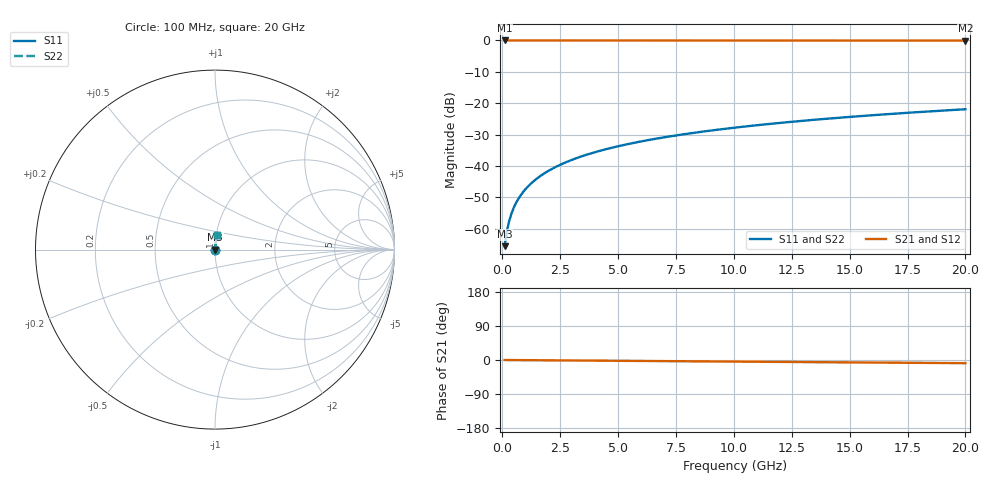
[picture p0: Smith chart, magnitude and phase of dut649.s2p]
! Touchstone file exported from HFSS 2026.1.0
!  File:  C:/ffzhzh/LocalFiles/Ansys_Project_Files/temp_train_TSV_649_1783026597_53980.aedt
!  Generated:  05:11:50 AM Jul  3, 2026
!  Design:  TSV
!  Project:  temp_train_TSV_649_1783026597_53980
! Variables:
!  h_bsmrdl = 2um
!  h_ox = 20um
!  h_rdl = 5um
!  h_sub = 62.72um
!  h_tmrdl = 5um
!  h_tsv = 62.72um
!  h_via = 3um
!  l_bsmrdl = 300um
!  l_sub = 410.46um
!  l_tmrdl = 200um
!  m_sub = 200um
!  pitch = 52.38um
!  r_tsv = 5.23um
!  s_tmrdl = 10um
!  w_bsmrdl = 18um
!  w_sub = 500um
!  w_tmrdl = 12um
!  x_tsv_center1 = 206um
!  x_tsv_center2 = 524um
!  x_tsv_center3 = 736um
!  x_tsv_center4 = 1054um
!  x_tsv_center5 = 1266um
!  x_tsv_center6 = 1584um
# GHz S MA R 50.000000
! Terminal data exported
! Port[1] = TSV1_1_T1
! Port[2] = TSV1_1_T2
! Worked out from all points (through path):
!   200 points, 100 MHz to 20 GHz, reference 50 ohm
!   highest |S21| = 0.00 dB at 100 MHz (marker M1); lowest = 0.0 dB at 20 GHz (marker M2)
!   group delay of S21, straight-line fit = 1.16 ps
!   lowest |S11| = -65.5 dB at 100 MHz (marker M3), VSWR 1.00, Z = 50 + j0.0438 ohm
!   |S11| at or under -10 dB: start of sweep to end of sweep
!   |S22| runs from -65.5 to -21.9 dB; largest |S21 - S12| = 5.4e-15
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0.1  0.0005286 55.9  0.9997 -0.0  0.9997 -0.0  0.0005286 55.9
! Gamma 0 0 0 0
! Port Impedance 50 0 50 0
0.2  0.0009256 70.7  0.9997 -0.1  0.9997 -0.1  0.0009256 70.7
0.3  0.001344 76.3  0.9997 -0.1  0.9997 -0.1  0.001344 76.3
0.4  0.001766 79.0  0.9997 -0.2  0.9997 -0.2  0.001766 79.0
0.5  0.002186 80.7  0.9997 -0.2  0.9997 -0.2  0.002186 80.7
0.7  0.003023 82.6  0.9996 -0.3  0.9996 -0.3  0.003023 82.6
0.8  0.003439 83.2  0.9996 -0.3  0.9996 -0.3  0.003439 83.2
1  0.004269 84.0  0.9996 -0.4  0.9996 -0.4  0.004269 84.0
1.2  0.005097 84.6  0.9995 -0.5  0.9995 -0.5  0.005097 84.6
1.4  0.005924 85.0  0.9995 -0.6  0.9995 -0.6  0.005924 85.0
1.7  0.007164 85.4  0.9995 -0.7  0.9995 -0.7  0.007164 85.4
2  0.008402 85.7  0.9994 -0.9  0.9994 -0.9  0.008402 85.7
2.7  0.01128 85.9  0.9993 -1.2  0.9993 -1.2  0.01128 85.9
3.5  0.01455 85.9  0.9992 -1.5  0.9992 -1.5  0.01455 85.9
4.2  0.0174 85.8  0.9991 -1.8  0.9991 -1.8  0.0174 85.8
5  0.02064 85.6  0.999 -2.1  0.999 -2.1  0.02064 85.6
6.8  0.02788 85.1  0.9986 -2.9  0.9986 -2.9  0.02788 85.1
8.3  0.03389 84.7  0.9983 -3.5  0.9983 -3.5  0.03389 84.7
10.1  0.04107 84.1  0.998 -4.2  0.998 -4.2  0.04107 84.1
13.4  0.0542 83.0  0.9972 -5.6  0.9972 -5.6  0.0542 83.0
16.7  0.06724 81.7  0.9962 -7.0  0.9962 -7.0  0.06724 81.7
20  0.08019 80.5  0.9951 -8.3  0.9951 -8.3  0.08019 80.5
